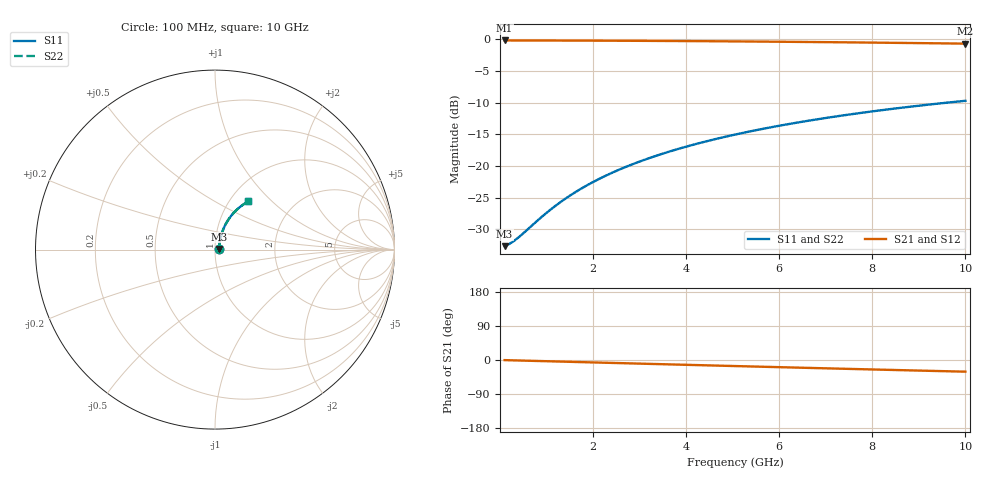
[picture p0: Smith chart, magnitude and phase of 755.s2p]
# Hz S RI R 50.00
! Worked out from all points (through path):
!   100 points, 100 MHz to 10 GHz, reference 50 ohm
!   highest |S21| = -0.20 dB at 100 MHz (marker M1); lowest = -0.7 dB at 10 GHz (marker M2)
!   group delay of S21, straight-line fit = 8.58 ps
!   lowest |S11| = -32.6 dB at 100 MHz (marker M3), VSWR 1.05, Z = 52.4 + j0.359 ohm
!   |S11| at or under -10 dB: start of sweep to 9.622 GHz
!   |S22| runs from -32.6 to -9.7 dB; largest |S21 - S12| = 0
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1e8  0.0231 0.00343  0.9769 -0.00545  0.9769 -0.00545  0.0231 0.00343
2e8  0.0233 0.00685  0.9767 -0.0109  0.9767 -0.0109  0.0233 0.00685
3e8  0.0235 0.0103  0.9765 -0.0163  0.9765 -0.0163  0.0235 0.0103
4e8  0.0237 0.0137  0.9763 -0.0218  0.9763 -0.0218  0.0237 0.0137
9e8  0.0252 0.0307  0.9746 -0.049  0.9746 -0.049  0.0252 0.0307
1.2e9  0.0266 0.0409  0.9731 -0.0652  0.9731 -0.0652  0.0266 0.0409
1.5e9  0.0282 0.051  0.9713 -0.0814  0.9713 -0.0814  0.0282 0.051
1.8e9  0.0302 0.061  0.9691 -0.0975  0.9691 -0.0975  0.0302 0.061
2.1e9  0.0325 0.071  0.9666 -0.1135  0.9666 -0.1135  0.0325 0.071
2.5e9  0.036 0.0841  0.9626 -0.1347  0.9626 -0.1347  0.036 0.0841
2.9e9  0.0402 0.097  0.958 -0.1558  0.958 -0.1558  0.0402 0.097
3.4e9  0.0461 0.1128  0.9515 -0.1817  0.9515 -0.1817  0.0461 0.1128
3.8e9  0.0514 0.1252  0.9455 -0.2022  0.9455 -0.2022  0.0514 0.1252
4.2e9  0.0573 0.1372  0.939 -0.2224  0.939 -0.2224  0.0573 0.1372
4.6e9  0.0636 0.149  0.9319 -0.2423  0.9319 -0.2423  0.0636 0.149
5.1e9  0.0722 0.1632  0.9223 -0.2668  0.9223 -0.2668  0.0722 0.1632
5.9e9  0.0874 0.1848  0.9052 -0.3046  0.9052 -0.3046  0.0874 0.1848
6.7e9  0.1042 0.2047  0.8862 -0.341  0.8862 -0.341  0.1042 0.2047
7.5e9  0.1225 0.223  0.8656 -0.3756  0.8656 -0.3756  0.1225 0.223
8.4e9  0.1445 0.2414  0.8405 -0.4125  0.8405 -0.4125  0.1445 0.2414
9.2e9  0.1651 0.2557  0.8168 -0.4434  0.8168 -0.4434  0.1651 0.2557
1e10  0.1865 0.2682  0.792 -0.4724  0.792 -0.4724  0.1865 0.2682
